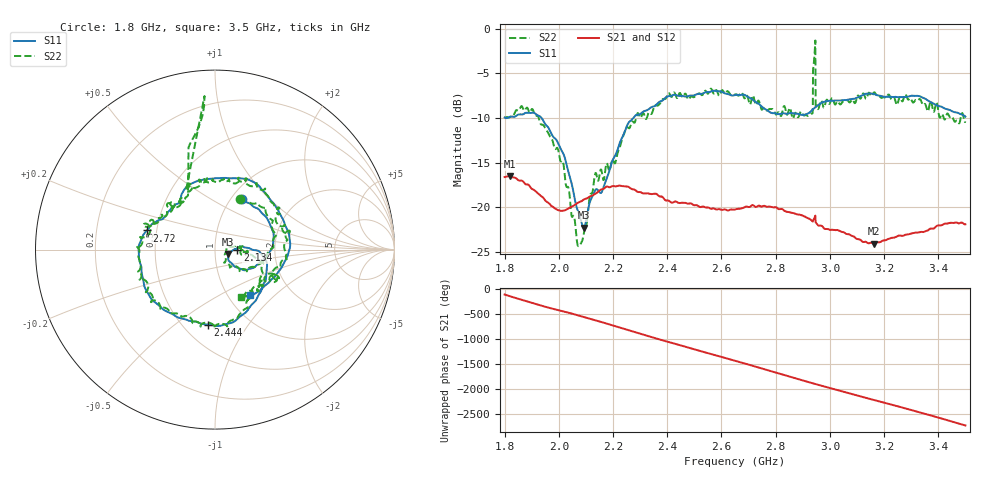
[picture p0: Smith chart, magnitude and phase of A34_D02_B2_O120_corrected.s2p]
! Created with skrf 1.9.0 (http://scikit-rf.org).
# Hz S RI R 50.0
!freq ReS11 ImS11 ReS21 ImS21 ReS12 ImS12 ReS22 ImS22
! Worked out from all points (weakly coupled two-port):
!   1601 points, 1.8 GHz to 3.5 GHz, reference 50 ohm
!   highest |S21| = -16.53 dB at 1.818 GHz (marker M1); lowest = -24.1 dB at 3.162 GHz (marker M2)
!   lowest |S11| = -22.3 dB at 2.092 GHz (marker M3), VSWR 1.17, Z = 57.8 - j2.79 ohm
!   |S11| at or under -10 dB: 1.80314 GHz to 1.810301 GHz (7.161 MHz wide, 0.396 % of centre); 1.936 GHz to 2.275 GHz (338.6 MHz wide, 16.1 % of centre)
!   |S22| runs from -24.3 to -1.3 dB; largest |S21 - S12| = 0.0025
!   S11 on the Smith chart (normalised r, x): 1.8 GHz: 1.12, +0.70; 2.134 GHz: 1.28, -0.01; 2.444 GHz: 0.66, -0.67; 2.72 GHz: 0.44, +0.11; 3.5 GHz: 1.26, -0.72
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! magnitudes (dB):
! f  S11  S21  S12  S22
! 1.8 GHz  -10.0  -16.6  -16.6  -10.0
! 1.818 GHz  -9.9  -16.5  -16.6  -9.9
! 1.902 GHz  -9.4  -18.0  -17.9  -9.0
! 1.967 GHz  -11.4  -19.6  -19.7  -12.0
! 2.02 GHz  -14.2  -20.4  -20.4  -15.8
! 2.07 GHz  -20.3  -19.5  -19.5  -24.3
! 2.084 GHz  -21.7  -19.3  -19.3  -23.9
! 2.092 GHz  -22.3  -19.1  -19.2  -22.9
! 2.134 GHz  -18.1  -18.5  -18.5  -16.3
! 2.161 GHz  -18.1  -18.0  -17.9  -16.5
! 2.259 GHz  -10.5  -17.7  -17.7  -11.2
! 2.367 GHz  -8.3  -18.7  -18.6  -8.6
! 2.444 GHz  -7.5  -19.5  -19.5  -7.3
! 2.65 GHz  -7.4  -20.2  -20.2  -7.4
! 2.72 GHz  -8.1  -19.8  -19.7  -7.8
! 2.912 GHz  -9.6  -21.1  -21.1  -9.7
! 2.934 GHz  -9.2  -21.5  -21.5  -9.5
! 2.946 GHz  -8.8  -20.9  -21.0  -1.3
! 2.956 GHz  -8.6  -22.0  -21.9  -9.0
! 3.162 GHz  -7.3  -24.1  -24.0  -7.2
! 3.217 GHz  -7.6  -23.5  -23.5  -7.4
! 3.5 GHz  -9.8  -21.9  -21.9  -10.4
